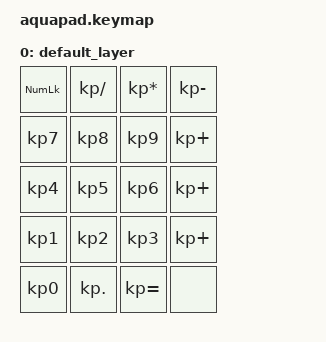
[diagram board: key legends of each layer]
// Keymap
//
// Created: Aug 9 2025 22:00
//
// Edited: 2025-Aug-09 22:04

#include <behaviors.dtsi>
#include <dt-bindings/zmk/keys.h>

/ {
    keymap {
        compatible = "zmk,keymap";

        default_layer {
            //  
            //
            bindings = <
            // NUM | Divide | Multiply | Minus
           &kp KP_NUM &kp KP_DIVIDE &kp KP_MULTIPLY &kp KP_MINUS
           //   7  |    8   |     9    | Plus
           &kp KP_N7 &kp KP_N8 &kp KP_N9 &kp KP_PLUS
           //   4  |    5   |     6    | Plus
           &kp KP_N4 &kp KP_N5 &kp KP_N6 &kp KP_PLUS
           //   1  |    2   |     3    | Plus
           &kp KP_N1 &kp KP_N2 &kp KP_N3 &kp KP_PLUS
           //   0  |    .   |     Enter    | None
           &kp KP_N0 &kp KP_DOT &kp KP_EQUAL &none
            >;
         };
    };
};
